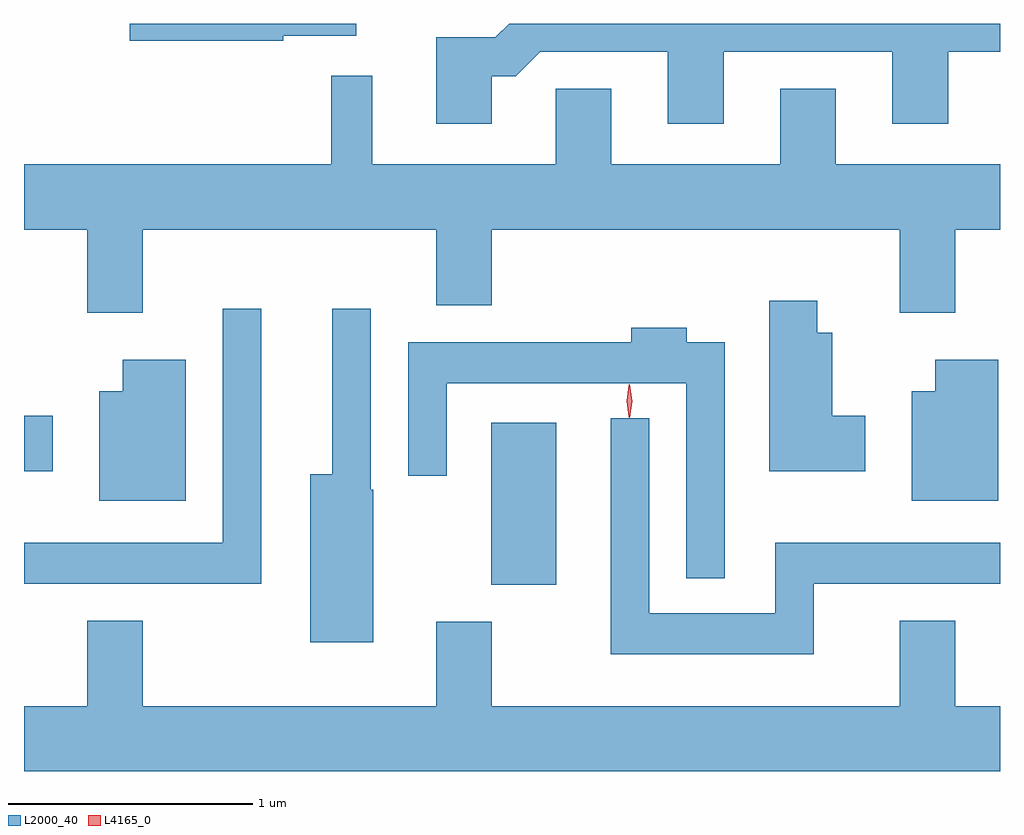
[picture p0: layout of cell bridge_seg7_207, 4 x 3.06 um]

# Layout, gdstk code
import gdstk
lib = gdstk.Library(unit=1e-6, precision=1e-09)
def R(c, l, rs):  # rectangles x0, y0, x1, y1
    for r in rs: c.add(gdstk.rectangle(r[:2], r[2:], *l))
def P(c, l, *ps):  # polygons
    for p in ps: c.add(gdstk.Polygon(p, *l))
L2000_40 = (2000, 40)
L4165_0 = (4165, 0)

bridge_seg7_207 = lib.new_cell('bridge_seg7_207')
R(bridge_seg7_207, L2000_40, [(1501.016,1706.201,1501.284,1706.864), (1499.102,1706.666,1499.219,1706.894)])
P(bridge_seg7_207, L2000_40, [(1500.164,1708.451),(1500.464,1708.451),(1500.464,1708.501),(1499.536,1708.501),(1499.536,1708.431),(1500.164,1708.431)],
  [(1501.019,1708.286),(1501.117,1708.286),(1501.217,1708.386),(1501.741,1708.386),(1501.741,1708.091),(1501.969,1708.091),(1501.969,1708.386),(1502.661,1708.386),(1502.661,1708.091),(1502.889,1708.091),(1502.889,1708.386),(1503.102,1708.386),(1503.102,1708.501),(1501.091,1708.501),(1501.034,1708.444),(1500.791,1708.444),(1500.791,1708.091),(1501.019,1708.091)],
  [(1499.589,1707.656),(1500.791,1707.656),(1500.791,1707.346),(1501.019,1707.346),(1501.019,1707.656),(1502.691,1707.656),(1502.691,1707.316),(1502.919,1707.316),(1502.919,1707.656),(1503.102,1707.656),(1503.102,1707.924),(1502.429,1707.924),(1502.429,1708.234),(1502.201,1708.234),(1502.201,1707.924),(1501.509,1707.924),(1501.509,1708.234),(1501.281,1708.234),(1501.281,1707.924),(1500.529,1707.924),(1500.529,1708.288),(1500.361,1708.288),(1500.361,1707.924),(1499.102,1707.924),(1499.102,1707.656),(1499.361,1707.656),(1499.361,1707.316),(1499.589,1707.316)],
  [(1502.549,1706.894),(1502.414,1706.894),(1502.414,1707.234),(1502.354,1707.234),(1502.354,1707.364),(1502.156,1707.364),(1502.156,1706.666),(1502.549,1706.666)],
  [(1500.534,1706.59),(1500.524,1706.59),(1500.524,1707.333),(1500.366,1707.333),(1500.366,1706.654),(1500.276,1706.654),(1500.276,1705.966),(1500.534,1705.966)],
  [(1500.074,1707.333),(1499.916,1707.333),(1499.916,1706.374),(1499.102,1706.374),(1499.102,1706.206),(1500.074,1706.206)],
  [(1501.974,1707.194),(1501.819,1707.194),(1501.819,1707.254),(1501.591,1707.254),(1501.591,1707.194),(1500.676,1707.194),(1500.676,1706.648),(1500.834,1706.648),(1500.834,1707.026),(1501.816,1707.026),(1501.816,1706.228),(1501.974,1706.228)],
  [(1503.094,1707.124),(1502.836,1707.124),(1502.836,1706.994),(1502.741,1706.994),(1502.741,1706.546),(1503.094,1706.546)],
  [(1499.764,1707.124),(1499.506,1707.124),(1499.506,1706.994),(1499.411,1706.994),(1499.411,1706.546),(1499.764,1706.546)],
  [(1502.339,1706.206),(1503.102,1706.206),(1503.102,1706.374),(1502.181,1706.374),(1502.181,1706.084),(1501.664,1706.084),(1501.664,1706.883),(1501.506,1706.883),(1501.506,1705.916),(1502.339,1705.916)],
  [(1503.102,1705.704),(1502.919,1705.704),(1502.919,1706.054),(1502.691,1706.054),(1502.691,1705.704),(1501.019,1705.704),(1501.019,1706.049),(1500.791,1706.049),(1500.791,1705.704),(1499.589,1705.704),(1499.589,1706.054),(1499.361,1706.054),(1499.361,1705.704),(1499.102,1705.704),(1499.102,1705.436),(1503.102,1705.436)])
P(bridge_seg7_207, L4165_0, [(1501.584,1706.884),(1501.584,1706.884),(1501.574,1706.953),(1501.584,1707.022),(1501.584,1707.023),(1501.585,1707.022),(1501.594,1706.953),(1501.585,1706.884)],
  [(1501.581,1706.887),(1501.572,1706.954),(1501.581,1707.02),(1501.582,1707.02),(1501.582,1707.02),(1501.592,1706.954),(1501.582,1706.887),(1501.582,1706.887)])

lib.write_gds('bridge_seg7_207.gds')
